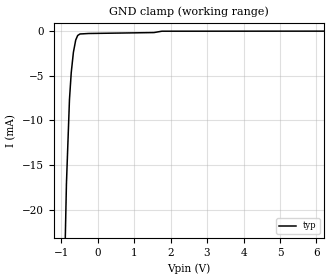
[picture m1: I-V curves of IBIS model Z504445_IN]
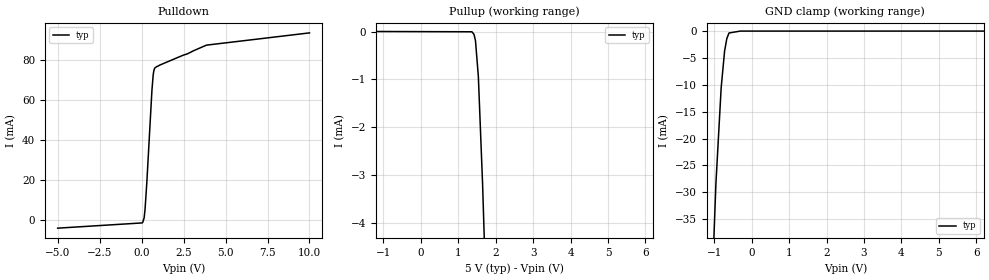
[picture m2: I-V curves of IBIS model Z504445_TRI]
| YOU ARE ONLY AUTHORIZED TO USE THIS SOFTWARE
| ACCORDING TO LICENSOR'S LICENSE RESTRICTIONS.
[IBIS Ver] 3.1
[File Name] sn54ls367aj.ibs
[File Rev] 2.0
[Source] Measured and created by ICX Technology
[Date] Friday 7/14/00 9:08:15 AM
[Copyright]
| (C) COPYRIGHT 1993-2000
| MENTOR GRAPHICS CORPORATION
| ICX STANDARD LIBRARY, ICX PROJECT MODELING,
| ICX CUSTOM MODELING, ICX VENDOR MODEL
| ALL RIGHTS RESERVED.
| THE FOLLOWING ARE TRADEMARKS OR SERVICE MARKS OF
| MENTOR GRAPHICS CORPORATION:ICX (R), ICX STANDARD
| LIBRARY(R), ICX PROJECT MODELING(R), ICX CUSTOM
| MODELING(R), qualityIBIS(TM), MODELVIEWER(TM),
| AND MODELEDITOR(TM)
| ALL COPIES OF SOFTWARE, INCLUDING BUT NOT LIMITED TO
| ANY MODIFICATIONS, ENHANCEMENTS OR DERIVATIVE WORKS,
| MUST CONTAIN ALL MENTOR GRAPHICS CORPORATION'S
| NOTICES AND LEGENDS, INCLUDING THOSE EMBEDDED IN
| SOFTWARE AND THOSE AFFIXED TO SOFTWARE MEDIUM
| AND CONTAINER, AS RECEIVED FROM MENTOR GRAPHICS
| CORPORATION.
|  ZAP Model Builder 2.7
[Component] SN54LS367AJ
[Manufacturer] OnSemiconductor
[Package]
| variable   typ   min   max
R_pkg  .212ohms NA NA
L_pkg  4.758nH NA NA
C_pkg  1.944pF NA NA
[Pin] signal_name  model_name  R_pin  L_pin C_pin
1 _G1 Z504445_IN .224 7.258n 2.683p
2 A0 Z504445_IN .216 5.258n 2.19p
3 Y0 Z504445_TRI .208 3.758n 1.697p
4 A1 Z504445_IN .2 2.758n 1.204p
5 Y1 Z504445_TRI .2 2.758n 1.204p
6 A2 Z504445_IN .208 3.758n 1.697p
7 Y2 Z504445_TRI .216 5.258n 2.19p
8 GND GND .224 7.258n 2.683p
9 Y3 Z504445_TRI .224 7.258n 2.683p
10 A3 Z504445_IN .216 5.258n 2.19p
11 Y4 Z504445_TRI .208 3.758n 1.697p
12 A4 Z504445_IN .2 2.758n 1.204p
13 Y5 Z504445_TRI .2 2.758n 1.204p
14 A5 Z504445_IN .208 3.758n 1.697p
15 _G2 Z504445_IN .216 5.258n 2.19p
16 VCC POWER .224 7.258n 2.683p
| Models and submodels in the file (2): Z504445_IN (Input), Z504445_TRI (3-state)
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| (C) COPYRIGHT 1993-2000
| MENTOR GRAPHICS CORPORATION
| ICX STANDARD LIBRARY, ICX PROJECT MODELING,
| ICX CUSTOM MODELING, ICX VENDOR MODEL
| ALL RIGHTS RESERVED.
| THE FOLLOWING ARE TRADEMARKS OR SERVICE MARKS OF
| MENTOR GRAPHICS CORPORATION:ICX (R), ICX STANDARD
| LIBRARY(R), ICX PROJECT MODELING(R), ICX CUSTOM
| MODELING(R), qualityIBIS(TM), MODELVIEWER(TM),
| AND MODELEDITOR(TM)
| ALL COPIES OF SOFTWARE, INCLUDING BUT NOT LIMITED TO
| ANY MODIFICATIONS, ENHANCEMENTS OR DERIVATIVE WORKS,
| MUST CONTAIN ALL MENTOR GRAPHICS CORPORATION'S
| NOTICES AND LEGENDS, INCLUDING THOSE EMBEDDED IN
| SOFTWARE AND THOSE AFFIXED TO SOFTWARE MEDIUM
| AND CONTAINER, AS RECEIVED FROM MENTOR GRAPHICS
| CORPORATION.
| Model Application Version 1.89 2/18/99.
[Model] Z504445_IN
Model_type Input
Vinl = 800.0mV
Vinh = 2.000V
C_comp 4.000pF NA NA
| variable typ   min   max
[Voltage Range] 5.000V NA NA
[GND Clamp Reference] 0.000V NA NA
[POWER Clamp Reference] 5.000V NA NA
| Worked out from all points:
|   GND clamp passes 1 mA (typ) near -0.60 V on its own axis
[GND Clamp]
-5V       -819.6mA   NA         NA
-854.5mV  -17.13mA   NA         NA
-771mV    -7.653mA   NA         NA
-722.7mV  -4.652mA   NA         NA
-663.2mV  -2.365mA   NA         NA
-600.1mV  -998.1uA   NA         NA
-546.1mV  -483.8uA   NA         NA
-483.4mV  -316.7uA   NA         NA
-241.7mV  -261.5uA   NA         NA
1.544V    -157.3uA   NA         NA
1.763V    -5.025uA   NA         NA
10V       8.504uA    NA         NA
[POWER Clamp]
-5V       0A         NA         NA
10V       0A         NA         NA
| (C) COPYRIGHT 1993-2000
| MENTOR GRAPHICS CORPORATION
| ICX STANDARD LIBRARY, ICX PROJECT MODELING,
| ICX CUSTOM MODELING, ICX VENDOR MODEL
| ALL RIGHTS RESERVED.
| THE FOLLOWING ARE TRADEMARKS OR SERVICE MARKS OF
| MENTOR GRAPHICS CORPORATION:ICX (R), ICX STANDARD
| LIBRARY(R), ICX PROJECT MODELING(R), ICX CUSTOM
| MODELING(R), qualityIBIS(TM), MODELVIEWER(TM),
| AND MODELEDITOR(TM)
| ALL COPIES OF SOFTWARE, INCLUDING BUT NOT LIMITED TO
| ANY MODIFICATIONS, ENHANCEMENTS OR DERIVATIVE WORKS,
| MUST CONTAIN ALL MENTOR GRAPHICS CORPORATION'S
| NOTICES AND LEGENDS, INCLUDING THOSE EMBEDDED IN
| SOFTWARE AND THOSE AFFIXED TO SOFTWARE MEDIUM
| AND CONTAINER, AS RECEIVED FROM MENTOR GRAPHICS
| CORPORATION.
| Model Application Version 1.89 2/18/99.
[Model] Z504445_TRI
Model_type 3-state
Vref=588.0mV
Rref=588.5ohms
Cref=45.00pF
Vmeas=1.300V
C_comp 8.000pF NA NA
| variable typ   min   max
[Voltage Range] 5.000V NA NA
[POWER Clamp Reference] 5.000V NA NA
[Pullup Reference] 5.000V NA NA
[Pulldown Reference] 0.000V NA NA
[GND Clamp Reference] 0.000V NA NA
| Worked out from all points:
|   slope of the pulldown table from 0 to 0.75 V, typ, clamps not added: 9.76 ohm
|   GND clamp passes 1 mA (typ) near -0.64 V on its own axis
[GND Clamp]
-5V       -1.089A    NA         NA
-1.089V   -53.4mA    NA         NA
-955.5mV  -28.47mA   NA         NA
-814.9mV  -10.57mA   NA         NA
-723.1mV  -3.715mA   NA         NA
-663.8mV  -1.403mA   NA         NA
-605.6mV  -355.4uA   NA         NA
-302.8mV  0A         NA         NA
10V       0A         NA         NA
[Pulldown]
-5V       -4.096mA   NA         NA
68.74mV   -1.181mA   NA         NA
151.3mV   1.079mA    NA         NA
204.6mV   5.32mA     NA         NA
311.9mV   18.93mA    NA         NA
615.3mV   65.05mA    NA         NA
689.1mV   72.66mA    NA         NA
727.2mV   74.75mA    NA         NA
802.5mV   76.34mA    NA         NA
3.862V    87.64mA    NA         NA
10V       93.78mA    NA         NA
[Pullup]
-5V       13.9uA     NA         NA
1.365V    -1.232uA   NA         NA
1.421V    -56.55uA   NA         NA
1.46V     -187.9uA   NA         NA
1.537V    -941.6uA   NA         NA
1.65V     -3.197mA   NA         NA
10V       -214.5mA   NA         NA
[POWER Clamp]
-5V       0A         NA         NA
10V       0A         NA         NA
[Ramp]
| variable typ min max
dV/dt_r 1.870/7.588n NA NA
dV/dt_f 1.870/1.473n NA NA
R_load = 500.0Ohms
